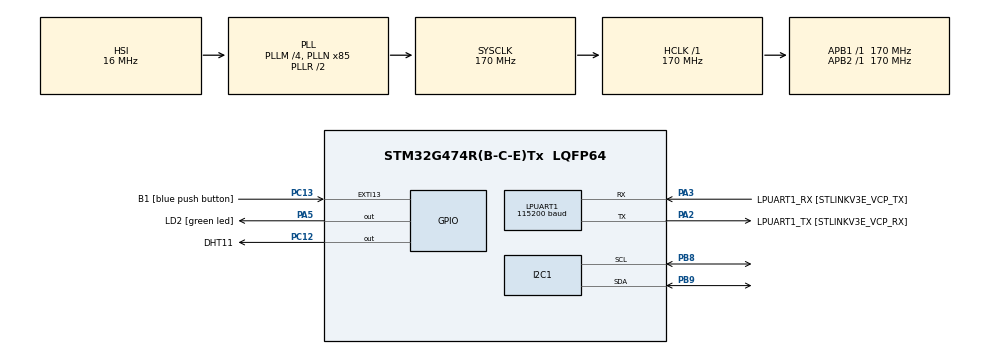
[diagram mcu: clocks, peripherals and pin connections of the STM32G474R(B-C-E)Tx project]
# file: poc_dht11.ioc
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I2C1.Timing=0x30A0A7FB
LPUART1.BaudRate=115200
LPUART1.WordLength=UART_WORDLENGTH_8B
Mcu.Family=STM32G4
Mcu.Name=STM32G474R(B-C-E)Tx
Mcu.Package=LQFP64
NVIC.EXTI15_10_IRQn=true\:0\:0\:false\:false\:true\:true\:true\:true
NVIC.PriorityGroup=NVIC_PRIORITYGROUP_4
PA13.GPIO_Label=T_SWDIO
PA13.Mode=Serial_Wire
PA13.Signal=SYS_JTMS-SWDIO
PA14.GPIO_Label=T_SWCLK
PA14.Mode=Serial_Wire
PA14.Signal=SYS_JTCK-SWCLK
PA2.GPIO_Label=LPUART1_TX [STLINKV3E_VCP_RX]
PA2.Mode=Asynchronous
PA2.Signal=LPUART1_TX
PA3.GPIO_Label=LPUART1_RX [STLINKV3E_VCP_TX]
PA3.Mode=Asynchronous
PA3.Signal=LPUART1_RX
PA5.GPIO_Label=LD2 [green led]
PA5.Signal=GPIO_Output
PB3.GPIO_Label=T_SWO
PB3.Signal=SYS_JTDO-SWO
PB8-BOOT0.Mode=I2C
PB8-BOOT0.Signal=I2C1_SCL
PB9.Mode=I2C
PB9.Signal=I2C1_SDA
PC12.GPIO_Label=DHT11
PC12.GPIO_Speed=GPIO_SPEED_FREQ_VERY_HIGH
PC12.PinState=GPIO_PIN_SET
PC12.Signal=GPIO_Output
PC13.GPIO_Label=B1 [blue push button]
PC13.Signal=GPXTI13
PC14-OSC32_IN.Mode=LSE-External-Oscillator
PC14-OSC32_IN.Signal=RCC_OSC32_IN
PC15-OSC32_OUT.Mode=LSE-External-Oscillator
PC15-OSC32_OUT.Signal=RCC_OSC32_OUT
PF0-OSC_IN.Mode=HSE-External-Oscillator
PF0-OSC_IN.Signal=RCC_OSC_IN
PF1-OSC_OUT.Mode=HSE-External-Oscillator
PF1-OSC_OUT.Signal=RCC_OSC_OUT
ProjectManager.HeapSize=0x200
ProjectManager.StackSize=0x400
ProjectManager.TargetToolchain=STM32CubeIDE
RCC.ADC12Freq_Value=170000000
RCC.ADC345Freq_Value=170000000
RCC.AHBFreq_Value=170000000
RCC.APB1Freq_Value=170000000
RCC.APB1TimFreq_Value=170000000
RCC.APB2Freq_Value=170000000
RCC.APB2TimFreq_Value=170000000
RCC.CortexFreq_Value=170000000
RCC.EXTERNAL_CLOCK_VALUE=12288000
RCC.HCLKFreq_Value=170000000
RCC.HSE_VALUE=24000000
RCC.HSI48_VALUE=48000000
RCC.HSI_VALUE=16000000
RCC.PLLM=RCC_PLLM_DIV4
RCC.PLLN=85
RCC.RTCClockSelection=RCC_RTCCLKSOURCE_LSE
RCC.SYSCLKFreq_VALUE=170000000
RCC.SYSCLKSource=RCC_SYSCLKSOURCE_PLLCLK
RCC.USBFreq_Value=170000000
RCC.VCOOutputFreq_Value=340000000
TIM7.Prescaler=169
VP_SYS_VS_DBSignals.Mode=DisableDeadBatterySignals
VP_TIM7_VS_ClockSourceINT.Mode=Enable_Timer
board=NUCLEO-G474RE

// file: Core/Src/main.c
/* USER CODE BEGIN Header */
/**
  ******************************************************************************
  * @file           : main.c
  * @brief          : Main program body
  ******************************************************************************
  * @attention
  *
  * Copyright (c) 2024 STMicroelectronics.
  * All rights reserved.
  *
  * This software is licensed under terms that can be found in the LICENSE file
  * in the root directory of this software component.
  * If no LICENSE file comes with this software, it is provided AS-IS.
  *
  ******************************************************************************
  */
/* USER CODE END Header */
#include "main.h"

/* USER CODE BEGIN Includes */
#include "stdio.h"
#include "mk_dht11.h"
#include "ssd1306.h"
#include "ssd1306_fonts.h"
/* USER CODE END Includes */

I2C_HandleTypeDef hi2c1;

UART_HandleTypeDef hlpuart1;

TIM_HandleTypeDef htim7;

/* USER CODE BEGIN PV */
dht11_t dht11;
char hum[4];
/* USER CODE END PV */

void ssd1306_WriteTemp(uint8_t temp, uint8_t x, uint8_t y);
void SystemClock_Config(void);
static void MX_GPIO_Init(void);
static void MX_LPUART1_UART_Init(void);
static void MX_I2C1_Init(void);
static void MX_TIM7_Init(void);

int main(void)
{

  /* MCU Configuration--------------------------------------------------------*/

  /* Reset of all peripherals, Initializes the Flash interface and the Systick. */
  HAL_Init();

  /* Configure the system clock */
  SystemClock_Config();

  /* Initialize all configured peripherals */
  MX_GPIO_Init();
  MX_LPUART1_UART_Init();
  MX_I2C1_Init();
  MX_TIM7_Init();
  /* USER CODE BEGIN 2 */
  init_dht11(&dht11, &htim7, DHT11_GPIO_Port, DHT11_Pin);
  ssd1306_Init();
  ssd1306_Fill(White);

  /* USER CODE END 2 */

  /* Infinite loop */
  /* USER CODE BEGIN WHILE */
  while (1)
  {

	readDHT11(&dht11);

	ssd1306_WriteTemp(dht11.temperature,2,0);

	sprintf(hum, "%d%%", dht11.humidty);
	ssd1306_SetCursor(2, 18);
	ssd1306_WriteString(hum, Font_11x18, Black);

	ssd1306_UpdateScreen();

	HAL_Delay(100);
    /* USER CODE END WHILE */

  }
}

void ssd1306_WriteTemp(uint8_t temp, uint8_t x, uint8_t y)
{
	char cTemp[3];

	sprintf(cTemp, "%d", temp);
	ssd1306_SetCursor(x, y);
	ssd1306_WriteString(cTemp, Font_11x18, Black);
	ssd1306_SetCursor(x+2*11+1, y);
	ssd1306_WriteString("o", Font_7x10, Black);
	ssd1306_SetCursor(x+3*11-3, y);
	ssd1306_WriteString("C", Font_11x18, Black);
}
void SystemClock_Config(void)
{
  RCC_OscInitTypeDef RCC_OscInitStruct = {0};
  RCC_ClkInitTypeDef RCC_ClkInitStruct = {0};

  /** Configure the main internal regulator output voltage
  */
  HAL_PWREx_ControlVoltageScaling(PWR_REGULATOR_VOLTAGE_SCALE1_BOOST);

  /** Initializes the RCC Oscillators according to the specified parameters
  * in the RCC_OscInitTypeDef structure.
  */
  RCC_OscInitStruct.OscillatorType = RCC_OSCILLATORTYPE_HSI;
  RCC_OscInitStruct.HSIState = RCC_HSI_ON;
  RCC_OscInitStruct.HSICalibrationValue = RCC_HSICALIBRATION_DEFAULT;
  RCC_OscInitStruct.PLL.PLLState = RCC_PLL_ON;
  RCC_OscInitStruct.PLL.PLLSource = RCC_PLLSOURCE_HSI;
  RCC_OscInitStruct.PLL.PLLM = RCC_PLLM_DIV4;
  RCC_OscInitStruct.PLL.PLLN = 85;
  RCC_OscInitStruct.PLL.PLLP = RCC_PLLP_DIV2;
  RCC_OscInitStruct.PLL.PLLQ = RCC_PLLQ_DIV2;
  RCC_OscInitStruct.PLL.PLLR = RCC_PLLR_DIV2;
  if (HAL_RCC_OscConfig(&RCC_OscInitStruct) != HAL_OK)
  {
    Error_Handler();
  }

  /** Initializes the CPU, AHB and APB buses clocks
  */
  RCC_ClkInitStruct.ClockType = RCC_CLOCKTYPE_HCLK|RCC_CLOCKTYPE_SYSCLK
                              |RCC_CLOCKTYPE_PCLK1|RCC_CLOCKTYPE_PCLK2;
  RCC_ClkInitStruct.SYSCLKSource = RCC_SYSCLKSOURCE_PLLCLK;
  RCC_ClkInitStruct.AHBCLKDivider = RCC_SYSCLK_DIV1;
  RCC_ClkInitStruct.APB1CLKDivider = RCC_HCLK_DIV1;
  RCC_ClkInitStruct.APB2CLKDivider = RCC_HCLK_DIV1;

  if (HAL_RCC_ClockConfig(&RCC_ClkInitStruct, FLASH_LATENCY_4) != HAL_OK)
  {
    Error_Handler();
  }
}

static void MX_I2C1_Init(void)
{

  hi2c1.Instance = I2C1;
  hi2c1.Init.Timing = 0x30A0A7FB;
  hi2c1.Init.OwnAddress1 = 0;
  hi2c1.Init.AddressingMode = I2C_ADDRESSINGMODE_7BIT;
  hi2c1.Init.DualAddressMode = I2C_DUALADDRESS_DISABLE;
  hi2c1.Init.OwnAddress2 = 0;
  hi2c1.Init.OwnAddress2Masks = I2C_OA2_NOMASK;
  hi2c1.Init.GeneralCallMode = I2C_GENERALCALL_DISABLE;
  hi2c1.Init.NoStretchMode = I2C_NOSTRETCH_DISABLE;
  if (HAL_I2C_Init(&hi2c1) != HAL_OK)
  {
    Error_Handler();
  }

  /** Configure Analogue filter
  */
  if (HAL_I2CEx_ConfigAnalogFilter(&hi2c1, I2C_ANALOGFILTER_ENABLE) != HAL_OK)
  {
    Error_Handler();
  }

  /** Configure Digital filter
  */
  if (HAL_I2CEx_ConfigDigitalFilter(&hi2c1, 0) != HAL_OK)
  {
    Error_Handler();
  }

}

static void MX_LPUART1_UART_Init(void)
{

  hlpuart1.Instance = LPUART1;
  hlpuart1.Init.BaudRate = 115200;
  hlpuart1.Init.WordLength = UART_WORDLENGTH_8B;
  hlpuart1.Init.StopBits = UART_STOPBITS_1;
  hlpuart1.Init.Parity = UART_PARITY_NONE;
  hlpuart1.Init.Mode = UART_MODE_TX_RX;
  hlpuart1.Init.HwFlowCtl = UART_HWCONTROL_NONE;
  hlpuart1.Init.OneBitSampling = UART_ONE_BIT_SAMPLE_DISABLE;
  hlpuart1.Init.ClockPrescaler = UART_PRESCALER_DIV1;
  hlpuart1.AdvancedInit.AdvFeatureInit = UART_ADVFEATURE_NO_INIT;
  if (HAL_UART_Init(&hlpuart1) != HAL_OK)
  {
    Error_Handler();
  }
  if (HAL_UARTEx_SetTxFifoThreshold(&hlpuart1, UART_TXFIFO_THRESHOLD_1_8) != HAL_OK)
  {
    Error_Handler();
  }
  if (HAL_UARTEx_SetRxFifoThreshold(&hlpuart1, UART_RXFIFO_THRESHOLD_1_8) != HAL_OK)
  {
    Error_Handler();
  }
  if (HAL_UARTEx_DisableFifoMode(&hlpuart1) != HAL_OK)
  {
    Error_Handler();
  }

}

static void MX_TIM7_Init(void)
{

  TIM_MasterConfigTypeDef sMasterConfig = {0};

  htim7.Instance = TIM7;
  htim7.Init.Prescaler = 169;
  htim7.Init.CounterMode = TIM_COUNTERMODE_UP;
  htim7.Init.Period = 65535;
  htim7.Init.AutoReloadPreload = TIM_AUTORELOAD_PRELOAD_DISABLE;
  if (HAL_TIM_Base_Init(&htim7) != HAL_OK)
  {
    Error_Handler();
  }
  sMasterConfig.MasterOutputTrigger = TIM_TRGO_RESET;
  sMasterConfig.MasterSlaveMode = TIM_MASTERSLAVEMODE_DISABLE;
  if (HAL_TIMEx_MasterConfigSynchronization(&htim7, &sMasterConfig) != HAL_OK)
  {
    Error_Handler();
  }

}

static void MX_GPIO_Init(void)
{
  GPIO_InitTypeDef GPIO_InitStruct = {0};

  /* GPIO Ports Clock Enable */
  __HAL_RCC_GPIOC_CLK_ENABLE();
  __HAL_RCC_GPIOF_CLK_ENABLE();
  __HAL_RCC_GPIOA_CLK_ENABLE();
  __HAL_RCC_GPIOB_CLK_ENABLE();

  /*Configure GPIO pin Output Level */
  HAL_GPIO_WritePin(LD2_GPIO_Port, LD2_Pin, GPIO_PIN_RESET);

  /*Configure GPIO pin Output Level */
  HAL_GPIO_WritePin(DHT11_GPIO_Port, DHT11_Pin, GPIO_PIN_SET);

  /*Configure GPIO pin : B1_Pin */
  GPIO_InitStruct.Pin = B1_Pin;
  GPIO_InitStruct.Mode = GPIO_MODE_IT_RISING;
  GPIO_InitStruct.Pull = GPIO_NOPULL;
  HAL_GPIO_Init(B1_GPIO_Port, &GPIO_InitStruct);

  /*Configure GPIO pin : LD2_Pin */
  GPIO_InitStruct.Pin = LD2_Pin;
  GPIO_InitStruct.Mode = GPIO_MODE_OUTPUT_PP;
  GPIO_InitStruct.Pull = GPIO_NOPULL;
  GPIO_InitStruct.Speed = GPIO_SPEED_FREQ_LOW;
  HAL_GPIO_Init(LD2_GPIO_Port, &GPIO_InitStruct);

  /*Configure GPIO pin : DHT11_Pin */
  GPIO_InitStruct.Pin = DHT11_Pin;
  GPIO_InitStruct.Mode = GPIO_MODE_OUTPUT_PP;
  GPIO_InitStruct.Pull = GPIO_NOPULL;
  GPIO_InitStruct.Speed = GPIO_SPEED_FREQ_VERY_HIGH;
  HAL_GPIO_Init(DHT11_GPIO_Port, &GPIO_InitStruct);

  /* EXTI interrupt init*/
  HAL_NVIC_SetPriority(EXTI15_10_IRQn, 0, 0);
  HAL_NVIC_EnableIRQ(EXTI15_10_IRQn);

}

void Error_Handler(void)
{
  __disable_irq();
  while (1)
  {
  }
}
